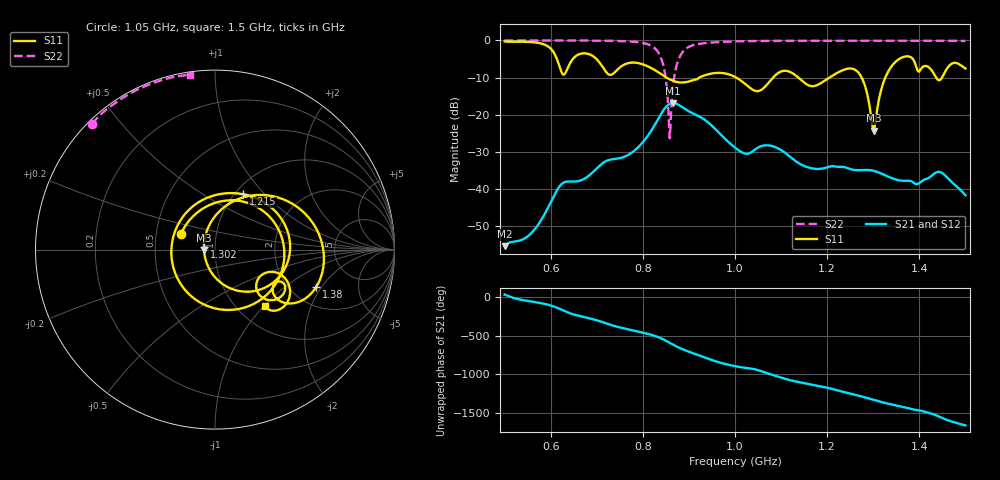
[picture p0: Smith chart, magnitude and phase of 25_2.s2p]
! TOUCHSTONE file generated by CST MICROWAVE STUDIO
! Date and time: Mon Nov 30 09:09:15 2020
! Project name: Scenario_1_Planar_Body_Tissue_Out_of_Line_v2.cst
! Parameters = {dy1=69.2; L_HA=400; Ltissue=700; MT=2.54; Rad_Dielectric=30; Rad_Lower=7.3; Rad_Upper=30; Wtissue=700; a_HA=580; a_WG=246; b_HA=500; b_WG=121; c_HA=0; c_WG=187; d_feed=85; dx1=346; h_feed=15; h_lower=18; h_upper=40; hfat=3; hgap=25; hmuscle=50; hskin=1.5}
! Header version: 2018
! Port assignment regex: !\s*Touchstone port\s*([0-9]+)\s*=\s*(CST MWS port|CST DS port)\s*([0-9]+|Zmin|Zmax)\s*\(\"(.*)\"\)(\s*mode\s*([0-9]+))?.*
! Touchstone port assignment:
! Touchstone port 1 = CST MWS port 1 ("")
! Touchstone port 2 = CST MWS port 2 ("")
# GHz S DB R 50
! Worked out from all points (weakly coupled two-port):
!   1003 points, 500 MHz to 1.5 GHz, reference 50 ohm
!   highest |S21| = -16.85 dB at 866 MHz (marker M1); lowest = -55.3 dB at 500 MHz (marker M2)
!   lowest |S11| = -24.3 dB at 1.301 GHz (marker M3), VSWR 1.13, Z = 44.2 - j0.157 ohm
!   |S11| at or under -10 dB: 851.2 MHz to 922.2 MHz (70.97 MHz wide, 8 % of centre); 1.003 GHz to 1.082 GHz (79.7 MHz wide, 7.64 % of centre); 1.137 GHz to 1.205 GHz (67.44 MHz wide, 5.76 % of centre) (the widest 3 of 5)
!   |S22| runs from -26.3 to 0.0 dB; largest |S21 - S12| = 5.7e-06
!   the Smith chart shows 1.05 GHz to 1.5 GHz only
!   S11 on the Smith chart (normalised r, x): 1.05 GHz: 0.67, +0.12; 1.215 GHz: 1.09, +0.76; 1.302 GHz: 0.88, +0.02; 1.38 GHz: 2.75, -1.78; 1.5 GHz: 1.34, -1.02
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0.5  -0.29 -121.8  -55.35 33.3  -55.35 33.3  -0.01 151.1
0.667  -3.53 157.3  -37.57 109.4  -37.57 109.4  -0.04 138.4
0.695  -4.51 101.3  -35.03 68.6  -35.03 68.6  -0.06 135.4
0.717  -7.94 24.2  -32.68 27.4  -32.68 27.4  -0.09 132.7
0.741  -8.34 -97.0  -31.85 -18.0  -31.85 -18.0  -0.14 129.1
0.769  -6.09 176.9  -30.74 -57.7  -30.74 -57.7  -0.27 123.4
0.834  -8.59 30.6  -20.98 -160.0  -20.98 -160.0  -3.32 84.5
0.857  -10.37 -32.1  -17.18 132.6  -17.18 132.6  -23.21 5.5
0.866  -10.87 -59.0  -16.85 103.4  -16.85 103.4  -11.70 -141.8
0.904  -10.89 -178.7  -19.35 4.1  -19.35 4.1  -1.49 165.9
0.939  -9.21 83.6  -21.78 -72.7  -21.78 -72.7  -0.68 151.4
1  -9.82 -58.6  -28.82 -173.8  -28.82 -173.8  -0.26 140.4
1.05  -13.62 155.9  -28.82 134.2  -28.82 134.2  -0.16 134.4
1.104  -8.22 -5.6  -29.82 30.1  -29.82 30.1  -0.12 129.4
1.167  -12.31 174.9  -34.42 -52.5  -34.42 -52.5  -0.10 124.2
1.215  -9.23 63.3  -33.84 -116.1  -33.85 -116.1  -0.09 120.5
1.269  -8.84 -33.5  -34.90 162.0  -34.90 162.0  -0.08 116.4
1.301  -24.26 -178.3  -35.08 109.7  -35.08 109.7  -0.08 114.0
1.302  -24.01 167.9  -35.12 108.0  -35.12 108.0  -0.08 114.0
1.334  -8.04 50.2  -36.72 57.7  -36.72 57.7  -0.09 111.5
1.38  -4.42 -20.1  -37.79 -4.5  -37.79 -4.5  -0.09 108.0
1.5  -7.54 -48.1  -41.64 138.3  -41.64 138.3  -0.14 98.0
